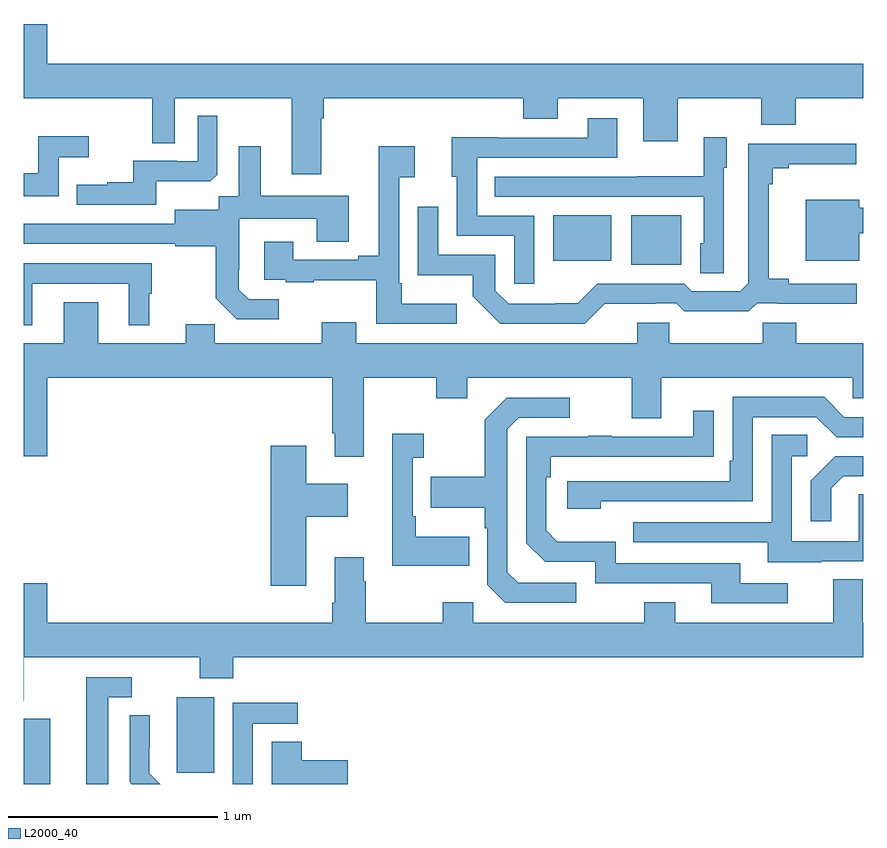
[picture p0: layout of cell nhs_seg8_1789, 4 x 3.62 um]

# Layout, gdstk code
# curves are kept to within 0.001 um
import gdstk
lib = gdstk.Library(unit=1e-6, precision=1e-09)
def R(c, l, rs):  # rectangles x0, y0, x1, y1
    for r in rs: c.add(gdstk.rectangle(r[:2], r[2:], *l))
def P(c, l, *ps):  # polygons
    for p in ps: c.add(gdstk.Polygon(p, *l))
L2000_40 = (2000, 40)

nhs_seg8_1789 = lib.new_cell('nhs_seg8_1789')
R(nhs_seg8_1789, L2000_40, [(225,1111.9,225.127,1112.211), (225.728,1111.953,225.907,1112.314), (227.894,1114.373,228.133,1114.609), (227.522,1114.394,227.8,1114.609)])
P(nhs_seg8_1789, L2000_40, [(226.417,1115.072),(226.43,1115.072),(226.43,1115.168),(227.381,1115.168),(227.381,1115.069),(227.545,1115.069),(227.545,1115.168),(227.951,1115.168),(227.951,1114.962),(228.115,1114.962),(228.115,1115.168),(228.515,1115.168),(228.515,1115.04),(228.679,1115.04),(228.679,1115.168),(229,1115.168),(229,1115.332),(225.112,1115.332),(225.112,1115.521),(225,1115.521),(225,1115.168),(225.612,1115.168),(225.612,1114.954),(225.72,1114.954),(225.72,1115.168),(226.277,1115.168),(226.277,1114.806),(226.417,1114.806)],
  [(225.631,1114.772),(225.889,1114.772),(225.921,1114.803),(225.921,1115.083),(225.828,1115.083),(225.828,1114.866),(225.728,1114.866),(225.728,1114.869),(225.521,1114.869),(225.521,1114.768),(225.397,1114.768),(225.397,1114.756),(225.253,1114.756),(225.253,1114.659),(225.631,1114.659)],
  [(227.433,1114.608),(227.16,1114.608),(227.16,1114.884),(227.827,1114.884),(227.827,1115.071),(227.687,1115.071),(227.687,1114.98),(227.257,1114.98),(227.257,1114.982),(227.039,1114.982),(227.039,1114.794),(227.064,1114.794),(227.064,1114.512),(227.337,1114.512),(227.337,1114.284),(227.433,1114.284)],
  [(225.168,1114.886),(225.31,1114.886),(225.31,1114.985),(225.07,1114.985),(225.07,1114.81),(225,1114.81),(225,1114.701),(225.168,1114.701)],
  [(228.336,1114.836),(228.349,1114.836),(228.349,1114.981),(228.24,1114.981),(228.24,1114.795),(227.923,1114.795),(227.923,1114.794),(227.245,1114.794),(227.245,1114.698),(228.24,1114.698),(228.24,1114.476),(228.224,1114.476),(228.224,1114.333),(228.336,1114.333)],
  [(227.768,1114.187),(228.008,1114.187),(228.008,1114.191),(228.108,1114.191),(228.148,1114.152),(228.455,1114.152),(228.495,1114.191),(228.589,1114.191),(228.589,1114.187),(228.97,1114.187),(228.97,1114.284),(228.646,1114.284),(228.646,1114.307),(228.55,1114.307),(228.55,1114.757),(228.569,1114.757),(228.569,1114.834),(228.646,1114.834),(228.646,1114.853),(228.967,1114.853),(228.967,1114.95),(228.453,1114.95),(228.453,1114.287),(228.414,1114.248),(228.183,1114.248),(228.147,1114.284),(227.733,1114.284),(227.639,1114.19),(227.534,1114.19),(227.534,1114.188),(227.31,1114.188),(227.247,1114.251),(227.247,1114.422),(226.974,1114.422),(226.974,1114.651),(226.878,1114.651),(226.878,1114.325),(227.14,1114.325),(227.14,1114.223),(227.27,1114.092),(227.673,1114.092)],
  [(227.062,1114.189),(226.801,1114.189),(226.801,1114.285),(226.788,1114.285),(226.788,1114.79),(226.864,1114.79),(226.864,1114.939),(226.691,1114.939),(226.691,1114.417),(226.595,1114.417),(226.595,1114.398),(226.285,1114.398),(226.285,1114.483),(226.145,1114.483),(226.145,1114.302),(226.249,1114.302),(226.249,1114.29),(226.381,1114.29),(226.381,1114.301),(226.68,1114.301),(226.68,1114.092),(227.062,1114.092)],
  [(226.216,1114.209),(226.071,1114.209),(226.024,1114.256),(226.024,1114.351),(226.026,1114.351),(226.026,1114.592),(226.397,1114.592),(226.397,1114.483),(226.549,1114.483),(226.549,1114.702),(226.129,1114.702),(226.129,1114.939),(226.025,1114.939),(226.025,1114.7),(225.93,1114.7),(225.93,1114.636),(225.719,1114.636),(225.719,1114.569),(225,1114.57),(225,1114.473),(225.723,1114.473),(225.723,1114.461),(225.915,1114.461),(225.915,1114.215),(226.015,1114.115),(226.216,1114.115)],
  [(228.982,1114.523),(229,1114.523),(229,1114.645),(228.982,1114.645),(228.982,1114.684),(228.725,1114.684),(228.725,1114.394),(228.982,1114.394)],
  [(225.04,1114.284),(225.5,1114.284),(225.5,1114.085),(225.598,1114.085),(225.598,1114.236),(225.61,1114.236),(225.61,1114.38),(225,1114.38),(225,1114.085),(225.04,1114.085)],
  [(226.621,1113.836),(226.966,1113.836),(226.966,1113.737),(227.113,1113.737),(227.113,1113.836),(227.897,1113.836),(227.897,1113.642),(228.037,1113.642),(228.037,1113.836),(228.951,1113.836),(228.951,1113.738),(229,1113.738),(229,1114),(228.68,1114),(228.68,1114.098),(228.52,1114.098),(228.52,1114),(228.075,1114),(228.075,1114.098),(227.924,1114.098),(227.924,1114),(226.585,1114),(226.585,1114.099),(226.421,1114.099),(226.421,1114),(225.911,1114),(225.911,1114.091),(225.773,1114.091),(225.773,1114),(225.355,1114),(225.355,1114.195),(225.191,1114.195),(225.191,1114),(225,1114),(225,1113.462),(225.112,1113.462),(225.112,1113.836),(226.469,1113.836),(226.469,1113.571),(226.481,1113.571),(226.481,1113.459),(226.621,1113.459)],
  [(227.75,1113.246),(228.474,1113.246),(228.474,1113.648),(228.777,1113.648),(228.873,1113.552),(229,1113.552),(229,1113.648),(228.909,1113.648),(228.813,1113.744),(228.378,1113.744),(228.378,1113.439),(228.365,1113.439),(228.365,1113.342),(227.589,1113.342),(227.589,1113.212),(227.75,1113.212)],
  [(227.632,1112.859),(227.355,1112.859),(227.304,1112.91),(227.304,1113.591),(227.358,1113.645),(227.602,1113.645),(227.602,1113.741),(227.301,1113.741),(227.196,1113.635),(227.196,1113.363),(226.939,1113.363),(226.939,1113.215),(227.196,1113.215),(227.196,1113.119),(227.208,1113.119),(227.208,1112.85),(227.295,1112.763),(227.632,1112.763)],
  [(228.64,1112.856),(228.415,1112.856),(228.415,1112.952),(227.82,1112.952),(227.82,1113.055),(227.543,1113.055),(227.49,1113.108),(227.49,1113.362),(227.51,1113.362),(227.51,1113.459),(228.287,1113.46),(228.287,1113.679),(228.191,1113.679),(228.191,1113.555),(227.801,1113.555),(227.801,1113.56),(227.689,1113.56),(227.689,1113.555),(227.394,1113.555),(227.394,1113.048),(227.484,1112.958),(227.724,1112.958),(227.724,1112.856),(228.275,1112.856),(228.275,1112.76),(228.64,1112.76)],
  [(227.123,1113.079),(226.867,1113.079),(226.867,1113.175),(226.854,1113.175),(226.854,1113.455),(226.906,1113.455),(226.906,1113.568),(226.757,1113.568),(226.757,1112.939),(227.123,1112.939)],
  [(228.799,1112.961),(229,1112.961),(229,1113.281),(228.978,1113.281),(228.978,1113.057),(228.66,1113.057),(228.66,1113.462),(228.733,1113.462),(228.733,1113.563),(228.564,1113.563),(228.564,1113.147),(227.905,1113.147),(227.905,1113.051),(228.545,1113.051),(228.545,1112.957),(228.799,1112.957)],
  [(226.345,1113.173),(226.543,1113.173),(226.543,1113.331),(226.345,1113.331),(226.345,1113.511),(226.178,1113.511),(226.178,1112.844),(226.345,1112.844)],
  [(228.847,1113.309),(228.904,1113.366),(229,1113.366),(229,1113.462),(228.866,1113.462),(228.75,1113.346),(228.75,1113.153),(228.847,1113.153)],
  [(225.001,1112.504),(225.838,1112.504),(225.838,1112.405),(225.998,1112.405),(225.998,1112.504),(229,1112.504),(229,1112.668),(228.997,1112.668),(228.997,1112.876),(228.857,1112.876),(228.857,1112.668),(228.103,1112.668),(228.103,1112.767),(227.956,1112.767),(227.956,1112.668),(227.142,1112.668),(227.142,1112.767),(226.996,1112.767),(226.996,1112.668),(226.629,1112.668),(226.629,1112.867),(226.621,1112.867),(226.621,1112.98),(226.481,1112.98),(226.481,1112.764),(226.469,1112.764),(226.469,1112.668),(225.112,1112.668),(225.112,1112.857),(225,1112.857),(225,1112.296),(225.001,1112.296)],
  [(225.403,1112.313),(225.514,1112.313),(225.514,1112.409),(225.299,1112.409),(225.299,1111.9),(225.403,1111.9)],
  [(226.092,1112.187),(226.306,1112.187),(226.306,1112.286),(225.996,1112.286),(225.996,1111.9),(226.092,1111.9)],
  [(225.599,1111.952),(225.599,1112.074),(225.6,1112.074),(225.6,1112.228),(225.504,1112.228),(225.504,1111.91),(225.514,1111.9),(225.65,1111.9)],
  [(226.543,1112.012),(226.325,1112.012),(226.325,1112.102),(226.181,1112.102),(226.181,1111.9),(226.543,1111.9)])

lib.write_gds('nhs_seg8_1789.gds')
